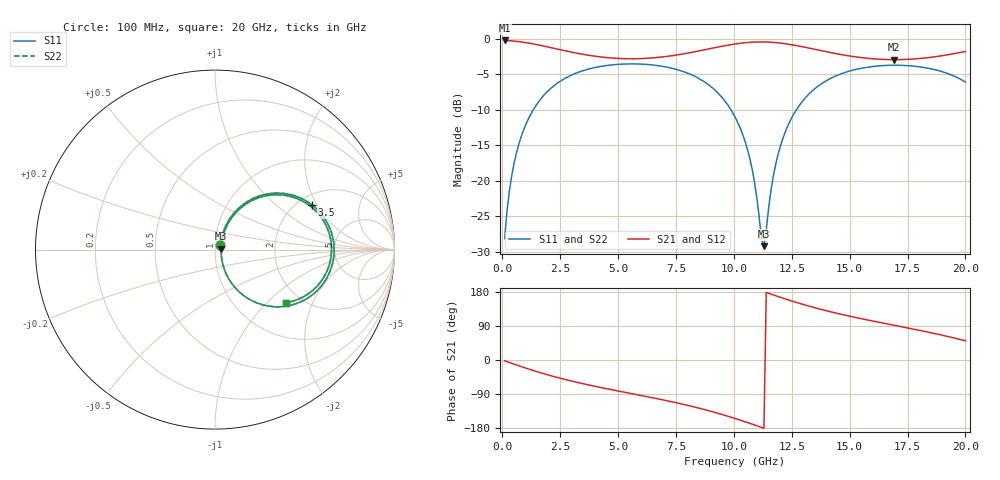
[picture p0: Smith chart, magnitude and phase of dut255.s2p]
! Touchstone file exported from HFSS 2026.1.0
!  File:  C:/ffzhzh/LocalFiles/Ansys_Project_Files/temp_train_TSV_RDL_255_1783068427_46780.aedt
!  Generated:  05:07:55 PM Jul  3, 2026
!  Design:  TSV_RDL
!  Project:  temp_train_TSV_RDL_255_1783068427_46780
! Variables:
!  h_bsmrdl = 3.23um
!  h_ox = 20um
!  h_rdl = 5um
!  h_sub = 68.26um
!  h_tmrdl = 5.08um
!  h_tsv = 68.26um
!  h_via = 3um
!  l_bsmrdl = 381.37um
!  l_sub = 5593.9um
!  l_tmrdl = 984.48um
!  m_sub = 200um
!  pitch = 58.43um
!  r_tsv = 2.71um
!  s_tmrdl = 10um
!  w_bsmrdl = 19.54um
!  w_sub = 500um
!  w_tmrdl = 17.75um
!  x_tsv_center1 = 993.355um
!  x_tsv_center2 = 1394.265um
!  x_tsv_center3 = 2396.495um
!  x_tsv_center4 = 2797.405um
!  x_tsv_center5 = 3799.635um
!  x_tsv_center6 = 4200.545um
# GHz S MA R 50.000000
! Terminal data exported
! Port[1] = TM_RDL1_1_T1
! Port[2] = TM_RDL5_1_T1
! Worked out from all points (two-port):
!   200 points, 100 MHz to 20 GHz, reference 50 ohm
!   highest |S21| = -0.26 dB at 100 MHz (marker M1); lowest = -3.0 dB at 16.9 GHz (marker M2)
!   |S21| within 3 dB of the highest: start of sweep to end of sweep
!   lowest |S11| = -29.2 dB at 11.3 GHz (marker M3), VSWR 1.07, Z = 53.5 + j0.541 ohm
!   |S11| at or under -10 dB: start of sweep to 1.344 GHz; 9.87 GHz to 12.71 GHz (2.836 GHz wide, 25.1 % of centre)
!   |S22| runs from -29.3 to -3.6 dB; largest |S21 - S12| = 1.6e-14
!   S11 on the Smith chart (normalised r, x): 100 MHz: 1.06, +0.05; 3.5 GHz: 2.37, +1.83; 20 GHz: 1.67, -1.31
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0.1  0.03909 40.3  0.9708 -2.2  0.9708 -2.2  0.03909 40.3
! Gamma 0 0 0 0
! Port Impedance 50 0 50 0
0.3  0.08316 62.2  0.9669 -6.5  0.9669 -6.5  0.08316 62.2
0.5  0.1305 65.5  0.9611 -10.8  0.9611 -10.8  0.1305 65.5
1.1  0.2665 60.1  0.9328 -23.1  0.9328 -23.1  0.2665 60.1
2.1  0.447 44.5  0.8641 -41.5  0.8641 -41.5  0.447 44.5
3.5  0.5957 24.6  0.7745 -62.8  0.7745 -62.8  0.5957 24.6
5.1  0.6605 5.3  0.7243 -83.0  0.7243 -83.0  0.6605 5.3
6.8  0.6425 -14.3  0.7393 -103.5  0.7393 -103.5  0.6425 -14.3
8.7  0.4997 -39.3  0.8323 -130.2  0.8323 -130.2  0.4997 -39.2
10.1  0.2708 -60.2  0.919 -155.3  0.919 -155.3  0.2708 -60.2
10.7  0.1408 -65.2  0.942 -167.4  0.942 -167.4  0.1407 -65.2
11.2  0.03854 -27.4  0.9481 -177.8  0.9481 -177.8  0.03846 -27.4
11.3  0.03452 8.4  0.9477 -179.9  0.9477 -179.9  0.03443 8.4
11.7  0.1063 61.9  0.9409 171.8  0.9409 171.8  0.1063 61.9
12  0.1727 63.2  0.9306 165.6  0.9306 165.6  0.1726 63.3
12.6  0.2964 56.6  0.8997 153.9  0.8997 153.9  0.2964 56.6
13.4  0.4305 44.8  0.8476 139.5  0.8476 139.5  0.4304 44.8
15.1  0.5975 21.8  0.7502 114.2  0.7502 114.2  0.5974 21.8
16.7  0.6486 3.2  0.7118 94.3  0.7118 94.3  0.6486 3.2
16.9  0.6495 0.9  0.7112 91.9  0.7112 91.9  0.6495 0.9
18.4  0.6185 -16.3  0.735 73.4  0.735 73.4  0.6185 -16.2
20  0.4946 -36.8  0.8117 50.7  0.8117 50.7  0.4946 -36.7
